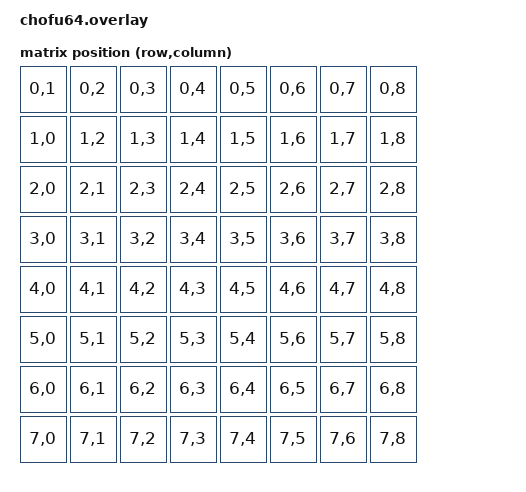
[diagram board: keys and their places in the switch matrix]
#include <dt-bindings/zmk/matrix_transform.h>
#include <dt-bindings/gpio/gpio.h>

/ {
    kscan0: kscan {
        compatible = "zmk,kscan-gpio-charlieplex";
        label = "KSCAN";
        wakeup-source;

        gpios =
            <&gpio0 2 GPIO_ACTIVE_HIGH>
            <&gpio0 3 GPIO_ACTIVE_HIGH>
            <&gpio0 4 GPIO_ACTIVE_HIGH>
            <&gpio0 5 GPIO_ACTIVE_HIGH>
            <&gpio0 6 GPIO_ACTIVE_HIGH>
            <&gpio0 7 GPIO_ACTIVE_HIGH>
            <&gpio0 8 GPIO_ACTIVE_HIGH>
            <&gpio0 9 GPIO_ACTIVE_HIGH>
            <&gpio0 10 GPIO_ACTIVE_HIGH>
            <&gpio0 11 GPIO_ACTIVE_HIGH>;

        interrupt-gpios = <&gpio0 12 (GPIO_ACTIVE_HIGH | GPIO_PULL_DOWN)>;

        debounce-press-ms = <5>;
        debounce-scan-period-ms = <1>;
    };

    default_transform: matrix_transform {
        compatible = "zmk,matrix-transform";
        rows = <5>;
        columns = <13>;

        map = <
            RC(0,1) RC(0,2) RC(0,3) RC(0,4) RC(0,5) RC(0,6) RC(0,7) RC(0,8)
            RC(1,0) RC(1,2) RC(1,3) RC(1,4) RC(1,5) RC(1,6) RC(1,7) RC(1,8)
            RC(2,0) RC(2,1) RC(2,3) RC(2,4) RC(2,5) RC(2,6) RC(2,7) RC(2,8)
            RC(3,0) RC(3,1) RC(3,2) RC(3,4) RC(3,5) RC(3,6) RC(3,7) RC(3,8)
            RC(4,0) RC(4,1) RC(4,2) RC(4,3) RC(4,5) RC(4,6) RC(4,7) RC(4,8)
            RC(5,0) RC(5,1) RC(5,2) RC(5,3) RC(5,4) RC(5,6) RC(5,7) RC(5,8)
            RC(6,0) RC(6,1) RC(6,2) RC(6,3) RC(6,4) RC(6,5) RC(6,7) RC(6,8)
            RC(7,0) RC(7,1) RC(7,2) RC(7,3) RC(7,4) RC(7,5) RC(7,6) RC(7,8)
            >;
    };

    chosen {
        zmk,kscan = &kscan0;
        zmk,matrix-transform = &default_transform;
    };
};
